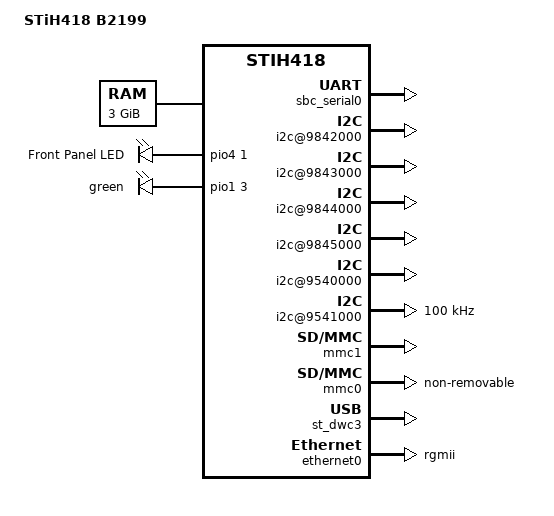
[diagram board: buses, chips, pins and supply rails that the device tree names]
// SPDX-License-Identifier: GPL-2.0-only
/*
 * Copyright (C) 2015 STMicroelectronics (R&D) Limited.
 * Author: Maxime Coquelin <maxime.coquelin@st.com>
 */
/dts-v1/;
#include "stih418.dtsi"
#include <dt-bindings/gpio/gpio.h>
/ {
	model = "STiH418 B2199";
	compatible = "st,stih418-b2199", "st,stih418";

	chosen {
		stdout-path = &sbc_serial0;
	};

	memory@40000000 {
		device_type = "memory";
		reg = <0x40000000 0xc0000000>;
	};

	aliases {
		serial0 = &sbc_serial0;
		ethernet0 = &ethernet0;
	};

	leds {
		compatible = "gpio-leds";
		red {
			label = "Front Panel LED";
			gpios = <&pio4 1 GPIO_ACTIVE_HIGH>;
			linux,default-trigger = "heartbeat";
		};
		green {
			gpios = <&pio1 3 GPIO_ACTIVE_HIGH>;
			default-state = "off";
		};
	};

	soc {
		sbc_serial0: serial@9530000 {
			status = "okay";
		};

		i2c@9842000 {
			status = "okay";
		};

		i2c@9843000 {
			status = "okay";
		};

		i2c@9844000 {
			status = "okay";
		};

		i2c@9845000 {
			status = "okay";
		};

		i2c@9540000 {
			status = "okay";
		};

		/* SSC11 to HDMI */
		i2c@9541000 {
			status = "okay";
			/* HDMI V1.3a supports Standard mode only */
			clock-frequency = <100000>;
			st,i2c-min-scl-pulse-width-us = <0>;
			st,i2c-min-sda-pulse-width-us = <5>;
		};

		mmc1: sdhci@9080000 {
			status = "okay";
		};

		mmc0: sdhci@9060000 {
			status = "okay";
			max-frequency = <200000000>;
			sd-uhs-sdr50;
			sd-uhs-sdr104;
			sd-uhs-ddr50;
			non-removable;
		};

		miphy28lp_phy: miphy28lp@0 {

			phy_port0: port@9b22000 {
				st,osc-rdy;
			};

			phy_port1: port@9b2a000 {
				st,osc-force-ext;
			};
		};

		st_dwc3: dwc3@8f94000 {
			status = "okay";
		};

		ethernet0: dwmac@9630000 {
			st,tx-retime-src = "clkgen";
			status = "okay";
			phy-mode = "rgmii";
			fixed-link = <0 1 1000 0 0>;
		};
	};
};
